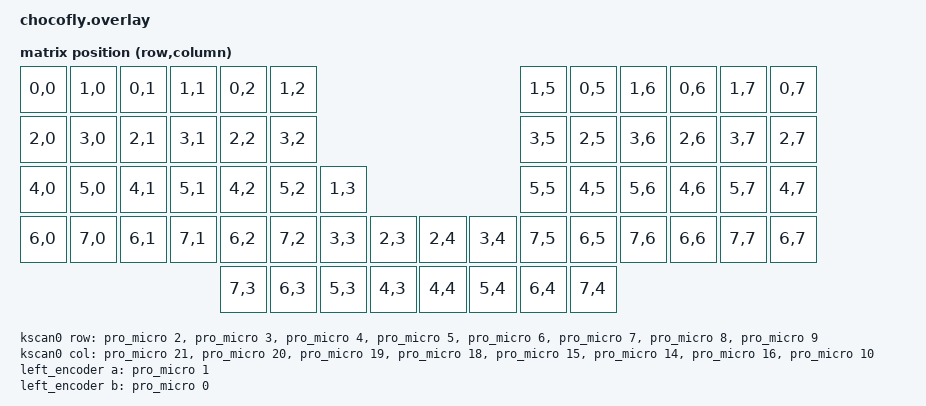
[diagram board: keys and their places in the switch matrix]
#include <dt-bindings/zmk/matrix_transform.h>

/ {
    chosen {
        zmk,kscan = &kscan0;
        zmk,matrix_transform = &default_transform;
    };

    kscan0: kscan_0 {
        compatible = "zmk,kscan-gpio-matrix";
        label = "KSCAN";
        diode-direction = "col2row";
        col-gpios
            = <&pro_micro 21 GPIO_ACTIVE_HIGH>
            , <&pro_micro 20 GPIO_ACTIVE_HIGH>
            , <&pro_micro 19 GPIO_ACTIVE_HIGH>
            , <&pro_micro 18 GPIO_ACTIVE_HIGH>
            , <&pro_micro 15 GPIO_ACTIVE_HIGH>
            , <&pro_micro 14 GPIO_ACTIVE_HIGH>
            , <&pro_micro 16 GPIO_ACTIVE_HIGH>
            , <&pro_micro 10 GPIO_ACTIVE_HIGH>
            ;
        row-gpios
            = <&pro_micro 2 (GPIO_ACTIVE_HIGH | GPIO_PULL_DOWN)>
            , <&pro_micro 3 (GPIO_ACTIVE_HIGH | GPIO_PULL_DOWN)>
            , <&pro_micro 4 (GPIO_ACTIVE_HIGH | GPIO_PULL_DOWN)>
            , <&pro_micro 5 (GPIO_ACTIVE_HIGH | GPIO_PULL_DOWN)>
            , <&pro_micro 6 (GPIO_ACTIVE_HIGH | GPIO_PULL_DOWN)>
            , <&pro_micro 7 (GPIO_ACTIVE_HIGH | GPIO_PULL_DOWN)>
            , <&pro_micro 8 (GPIO_ACTIVE_HIGH | GPIO_PULL_DOWN)>
            , <&pro_micro 9 (GPIO_ACTIVE_HIGH | GPIO_PULL_DOWN)>
            ;
    };
    default_transform: keymap_transform_0 {
        compatible = "zmk,matrix-transform";
        columns = <8>;
        rows = <8>;
// | SW1  | SW7  | SW2  | SW8  | SW3  | SW9  |                           | SW11 | SW4  | SW12 | SW5  | SW13 | SW6  |
// | SW14 | SW22 | SW15 | SW23 | SW16 | SW24 |                           | SW27 | SW19 | SW28 | SW20 | SW29 | SW21 |
// | SW30 | SW38 | SW31 | SW39 | SW32 | SW40 | SW10 |                    | SW43 | SW35 | SW44 | SW36 | SW45 | SW37 |
// | SW46 | SW54 | SW47 | SW55 | SW48 | SW56 | SW25 | SW17 | SW18 | SW26 | SW59 | SW51 | SW60 | SW52 | SW61 | SW53 |
//                             | SW57 | SW49 | SW41 | SW33 | SW34 | SW42 | SW50 | SW58 |

        map = <
RC(0,0) RC(1,0) RC(0,1) RC(1,1) RC(0,2) RC(1,2)                                 RC(1,5) RC(0,5) RC(1,6) RC(0,6) RC(1,7) RC(0,7)
RC(2,0) RC(3,0) RC(2,1) RC(3,1) RC(2,2) RC(3,2)                                 RC(3,5) RC(2,5) RC(3,6) RC(2,6) RC(3,7) RC(2,7)
RC(4,0) RC(5,0) RC(4,1) RC(5,1) RC(4,2) RC(5,2) RC(1,3)                         RC(5,5) RC(4,5) RC(5,6) RC(4,6) RC(5,7) RC(4,7)
RC(6,0) RC(7,0) RC(6,1) RC(7,1) RC(6,2) RC(7,2) RC(3,3) RC(2,3) RC(2,4) RC(3,4) RC(7,5) RC(6,5) RC(7,6) RC(6,6) RC(7,7) RC(6,7)
                                RC(7,3) RC(6,3) RC(5,3) RC(4,3) RC(4,4) RC(5,4) RC(6,4) RC(7,4)
        >;
    };

    left_encoder: encoder_left {
        compatible = "alps,ec11";
        label = "LEFT_ENCODER";
        a-gpios = <&pro_micro 1 (GPIO_ACTIVE_HIGH | GPIO_PULL_UP)>;
        b-gpios = <&pro_micro 0 (GPIO_ACTIVE_HIGH | GPIO_PULL_UP)>;
        resolution = <4>;
        status = "okay";
    };

    sensors {
        compatible = "zmk,keymap-sensors";
        sensors = <&left_encoder>;
    };
};
